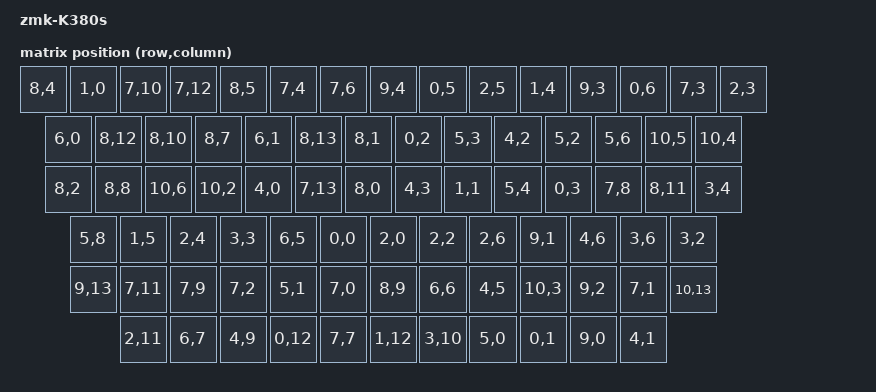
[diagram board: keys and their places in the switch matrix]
/*
 * Copyright (c) 2024 The ZMK Contributors
 *
 * SPDX-License-Identifier: MIT
 */

/dts-v1/;
#include <nordic/nrf52832_qfab.dtsi>
#include <dt-bindings/zmk/matrix_transform.h>

#include <zephyr/sys/util_macro.h>

#define DECLARE_ROW(X) <&gpio0 X (GPIO_ACTIVE_HIGH | GPIO_OPEN_SOURCE)>
#define DECLARE_COL(X) <&gpio0 X (GPIO_ACTIVE_HIGH | GPIO_PULL_DOWN)>

/ {
    model = "zmk-K380s";
    compatible = "k380s", "nrf,nrf52832_qfab";

    chosen {
        zephyr,code-partition = &code_partition;
        zephyr,sram = &sram0;
        zephyr,flash = &flash0;
        zmk,kscan = &kscan0;
        zmk,matrix_transform = &default_transform;
        zmk,battery = &vbatt;
    };

    soft_off_wakers {
        compatible = "zmk,soft-off-wakeup-sources";
        wakeup-sources = <&kscan0>;
    };

    kscan0: kscan {
        compatible = "zmk,kscan-gpio-matrix";
        wakeup-source;
        diode-direction = "row2col";
        /* Real matrix found via a brute-force GPIO scan (Aug 2026), replacing
         * the placeholder 26-row/1-col direct-wire guess. Confirmed as a clean
         * bipartite graph, 80 unique key connections (matches the Logitech
         * K380's 80-key layout), no ghosting conflicts. */
        row-gpios =
            FOR_EACH(DECLARE_ROW, (,),
            0,
            1,
            2,
            3,
            4,
            5,
            6,
            7,
            8,
            28,
            29
            );
        col-gpios =
            FOR_EACH(DECLARE_COL, (,),
            9,
            10,
            11,
            12,
            13,
            14,
            15,
            16,
            17,
            18,
            19,
            20,
            21,
            22
            );
    };

    /* Physical layout: 6 keyboard rows, left-to-right, top-to-bottom,
     * built from the physical key-press order captured during the
     * matrix-discovery scan (Aug 2026). */
    default_transform: keymap_transform_0 {
        compatible = "zmk,matrix-transform";
        columns = <15>;
        rows = <6>;
        map = <
            RC(8,4) RC(1,0) RC(7,10) RC(7,12) RC(8,5) RC(7,4) RC(7,6) RC(9,4) RC(0,5) RC(2,5) RC(1,4) RC(9,3) RC(0,6) RC(7,3) RC(2,3)
            RC(6,0) RC(8,12) RC(8,10) RC(8,7) RC(6,1) RC(8,13) RC(8,1) RC(0,2) RC(5,3) RC(4,2) RC(5,2) RC(5,6) RC(10,5) RC(10,4)
            RC(8,2) RC(8,8) RC(10,6) RC(10,2) RC(4,0) RC(7,13) RC(8,0) RC(4,3) RC(1,1) RC(5,4) RC(0,3) RC(7,8) RC(8,11) RC(3,4)
            RC(5,8) RC(1,5) RC(2,4) RC(3,3) RC(6,5) RC(0,0) RC(2,0) RC(2,2) RC(2,6) RC(9,1) RC(4,6) RC(3,6) RC(3,2)
            RC(9,13) RC(7,11) RC(7,9) RC(7,2) RC(5,1) RC(7,0) RC(8,9) RC(6,6) RC(4,5) RC(10,3) RC(9,2) RC(7,1) RC(10,13)
            RC(2,11) RC(6,7) RC(4,9) RC(0,12) RC(7,7) RC(1,12) RC(3,10) RC(5,0) RC(0,1) RC(9,0) RC(4,1)
        >;
    };

    leds {
        compatible = "gpio-leds";
        led_green: led_green {
            gpios = <&gpio0 23 GPIO_ACTIVE_HIGH>;
            label = "Green LED";
        };
        led_red: led_red {
            gpios = <&gpio0 24 GPIO_ACTIVE_HIGH>;
            label = "Red LED";
        };
        led_white_1: led_white_1 {
            gpios = <&gpio0 25 GPIO_ACTIVE_HIGH>;
            label = "White LED 1";
        };
        led_white_2: led_white_2 {
            gpios = <&gpio0 26 GPIO_ACTIVE_HIGH>;
            label = "White LED 2";
        };
        led_white_3: led_white_3 {
            gpios = <&gpio0 27 GPIO_ACTIVE_HIGH>;
            label = "White LED 3";
        };
    };

    aliases {
        led0 = &led_green;
        led1 = &led_red;
        led2 = &led_white_1;
        led3 = &led_white_2;
        led4 = &led_white_3;
    };

    status_led_device: status_led_device {
        compatible = "zmk,status-led";
        led = <&led_white_1>;
    };

    /* P0.31 gates power to the LED bank (all led_* GPIOs stay dark without
     * it) - discovered by hogging it high/low and watching the LEDs light. */
    EXT_POWER {
        compatible = "zmk,ext-power-generic";
        control-gpios = <&gpio0 31 GPIO_ACTIVE_HIGH>;
    };

    /* P0.30 (AIN6) senses a 2-cell NiMH pack directly - no physical divider.
     * The driver's percentage curve is a fixed lithium-ion curve (100% at
     * 4200mV, 0% at 3450mV, a 750mV window, not configurable in this ZMK
     * version). full-ohms/output-ohms is scaled (~1.697x) as a least-squares
     * fit against an ideal 0%@1900mV / 100%@2600mV line (700mV window,
     * close to the fixed curve's native span) - the middle of the range
     * (~2200-2400mV) tracks closely, with some flattening at the extremes
     * (0% until ~2000mV, 100% from ~2500mV) since a single linear scale
     * can't perfectly reproduce an arbitrary target range. */
    vbatt: vbatt {
        compatible = "zmk,battery-voltage-divider";
        io-channels = <&adc 6>;
        output-ohms = <100000>;
        full-ohms = <169700>;
    };
};

&gpiote {
    status = "okay";
};

&gpio0 {
    status = "okay";
};

&adc {
    status = "okay";
};

&uicr {
    nfct-pins-as-gpios;
};

&flash0 {
    partitions {
        compatible = "fixed-partitions";
        #address-cells = <1>;
        #size-cells = <1>;

        code_partition: partition@0 {
            reg = <0x00000000 0x0003e000>;
        };

        /* Set 8KiB of storage at the end of the 256KiB of flash */
        storage_partition: partition@3e000 {
            reg = <0x0003e000 0x00002000>;
        };
    };
};
